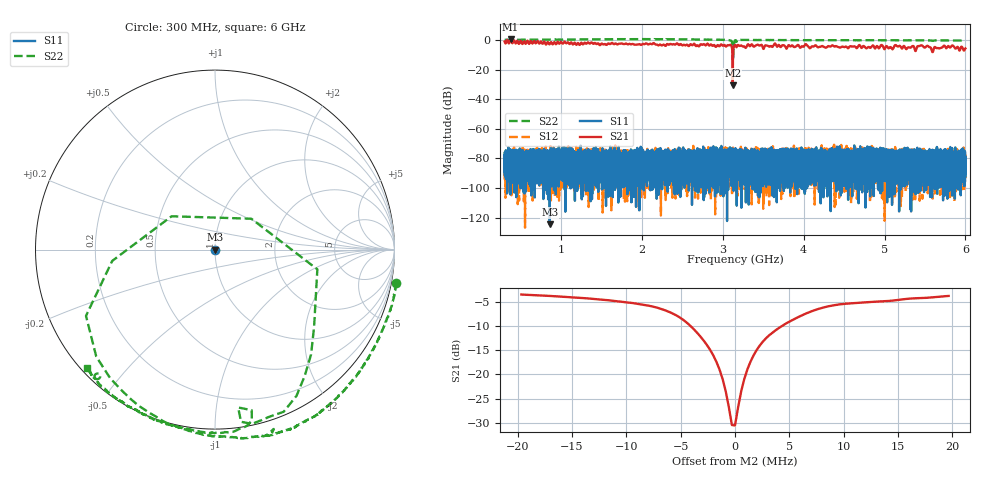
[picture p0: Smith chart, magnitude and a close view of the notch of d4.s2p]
!Agilent Technologies,N5230C,SG49000117,A.08.50.07
!Agilent N5230C: A.08.50.07
!Date: Sunday, March 17, 2024 09:18:41
!Correction: S11(Off)
!S21(Off)
!S12(Off)
!S22(Full 1 Port(2))
!S2P File: Measurements: S11, S21, S12, S22:
# Hz S  RI  R 50
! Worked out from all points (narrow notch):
!   20001 points, 300 MHz to 6 GHz, reference 50 ohm
!   highest |S21| = 0.46 dB at 374.1 MHz (marker M1); lowest = -30.6 dB at 3.122 GHz (marker M2)
!   notch at M2: 27.1 dB deep, 3.3 MHz wide at half that depth
!   lowest |S11| = -124.5 dB at 858.3 MHz (marker M3), VSWR 1.00, Z = 50 - j6.98e-06 ohm
!   |S11| at or under -10 dB: start of sweep to end of sweep
!   |S22| runs from -13.6 to 0.7 dB; largest |S21 - S12| = 1.1
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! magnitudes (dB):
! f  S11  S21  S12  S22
! 300 MHz  -76.3  -0.9  -83.5  0.2
! 374.1 MHz  -81.4  0.5  -80.1  0.2
! 858.3 MHz  -124.5  -2.7  -81.4  0.4
! 1.25 GHz  -79.3  -1.7  -87.7  0.5
! 2.2 GHz  -99.4  -3.6  -84.6  0.7
! 3.078 GHz  -89.0  -3.5  -77.6  0.0
! 3.1 GHz  -80.4  -3.3  -76.9  -0.4
! 3.122 GHz  -78.5  -30.6  -77.5  -8.2
! 3.15 GHz  -84.1  -3.1  -89.1  -0.1
! 3.163 GHz  -82.5  -4.1  -87.2  -0.2
! 3.21 GHz  -78.2  -3.9  -94.3  0.2
! 3.974 GHz  -88.8  -4.2  -84.8  0.0
! 4.03 GHz  -84.6  -2.8  -88.4  0.0
! 4.1 GHz  -84.0  -4.2  -83.9  0.0
! 5.05 GHz  -78.6  -5.6  -86.8  -0.1
! 5.152 GHz  -84.5  -3.9  -77.8  -0.1
! 5.388 GHz  -81.1  -6.9  -79.4  -0.1
! 5.447 GHz  -90.3  -3.6  -80.2  -0.1
! 5.545 GHz  -85.6  -4.3  -79.6  -0.2
! 5.588 GHz  -79.1  -7.7  -79.7  -0.3
! 5.838 GHz  -85.0  -3.6  -85.3  -0.2
! 6 GHz  -86.7  -5.6  -85.0  -0.2
